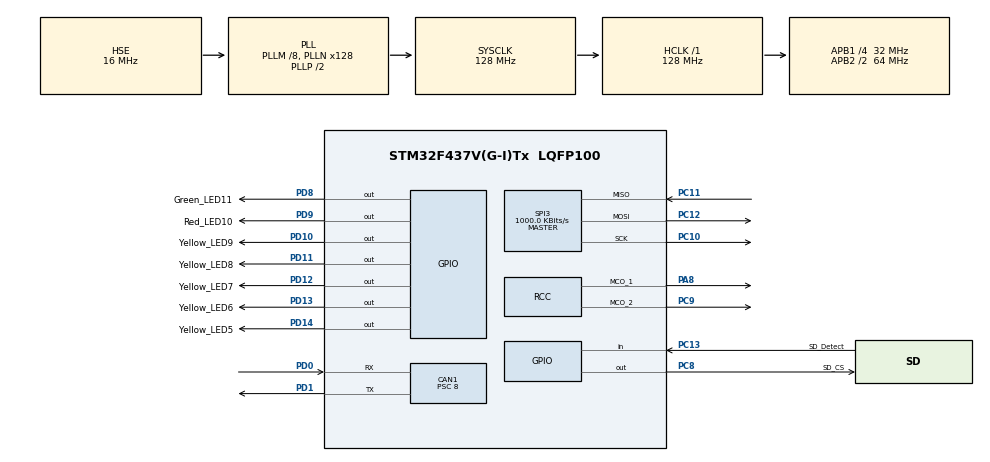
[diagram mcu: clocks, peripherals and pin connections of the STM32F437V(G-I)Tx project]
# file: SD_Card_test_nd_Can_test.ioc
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CAN1.BS1=CAN_BS1_13TQ
CAN1.BS2=CAN_BS2_2TQ
CAN1.CalculateBaudRate=250000
CAN1.CalculateTimeBit=4000
CAN1.CalculateTimeQuantum=250.0
CAN1.Prescaler=8
Mcu.Family=STM32F4
Mcu.Name=STM32F437V(G-I)Tx
Mcu.Package=LQFP100
NVIC.CAN1_RX0_IRQn=true\:0\:0\:false\:false\:true\:true\:true\:true
NVIC.CAN1_RX1_IRQn=true\:0\:0\:false\:false\:true\:true\:true\:true
NVIC.CAN1_TX_IRQn=true\:0\:0\:false\:false\:true\:true\:true\:true
NVIC.PriorityGroup=NVIC_PRIORITYGROUP_4
NVIC.SPI3_IRQn=true\:0\:0\:false\:false\:true\:true\:true\:true
PA11.Signal=USB_OTG_FS_DM
PA12.Signal=USB_OTG_FS_DP
PA13.Mode=Trace_Asynchronous_SW
PA13.Signal=SYS_JTMS-SWDIO
PA14.Mode=Trace_Asynchronous_SW
PA14.Signal=SYS_JTCK-SWCLK
PA8.Mode=Clock-out-1
PA8.Signal=RCC_MCO_1
PB3.Mode=Trace_Asynchronous_SW
PB3.Signal=SYS_JTDO-SWO
PC10.Mode=Full_Duplex_Master
PC10.Signal=SPI3_SCK
PC11.Mode=Full_Duplex_Master
PC11.Signal=SPI3_MISO
PC12.Mode=Full_Duplex_Master
PC12.Signal=SPI3_MOSI
PC13.GPIO_Label=SD_Detect
PC13.Signal=GPIO_Input
PC8.GPIO_Label=SD_CS
PC8.Signal=GPIO_Output
PC9.Mode=Clock-out-2
PC9.Signal=RCC_MCO_2
PD0.Mode=CAN_Activate
PD0.Signal=CAN1_RX
PD1.Mode=CAN_Activate
PD1.Signal=CAN1_TX
PD10.GPIO_Label=Yellow_LED9
PD10.Signal=GPIO_Output
PD11.GPIO_Label=Yellow_LED8
PD11.Signal=GPIO_Output
PD12.GPIO_Label=Yellow_LED7
PD12.Signal=GPIO_Output
PD13.GPIO_Label=Yellow_LED6
PD13.Signal=GPIO_Output
PD14.GPIO_Label=Yellow_LED5
PD14.Signal=GPIO_Output
PD8.GPIO_Label=Green_LED11
PD8.Signal=GPIO_Output
PD9.GPIO_Label=Red_LED10
PD9.Signal=GPIO_Output
PH0/OSC_IN.Mode=HSE-External-Oscillator
PH0/OSC_IN.Signal=RCC_OSC_IN
PH1/OSC_OUT.Mode=HSE-External-Oscillator
PH1/OSC_OUT.Signal=RCC_OSC_OUT
ProjectManager.HeapSize=0x200
ProjectManager.StackSize=0x400
ProjectManager.TargetToolchain=STM32CubeIDE
RCC.48MHZClocksFreq_Value=64000000
RCC.AHBFreq_Value=128000000
RCC.APB1CLKDivider=RCC_HCLK_DIV4
RCC.APB1Freq_Value=32000000
RCC.APB1TimFreq_Value=64000000
RCC.APB2CLKDivider=RCC_HCLK_DIV2
RCC.APB2Freq_Value=64000000
RCC.APB2TimFreq_Value=128000000
RCC.CortexFreq_Value=128000000
RCC.EnbaleCSS=true
RCC.HCLKFreq_Value=128000000
RCC.HSE_VALUE=16000000
RCC.HSI_VALUE=16000000
RCC.LSE_VALUE=32768
RCC.PLLM=8
RCC.PLLN=128
RCC.PLLSourceVirtual=RCC_PLLSOURCE_HSE
RCC.RCC_MCODiv2=RCC_MCODIV_2
RCC.SYSCLKFreq_VALUE=128000000
RCC.SYSCLKSource=RCC_SYSCLKSOURCE_PLLCLK
RCC.VCOOutputFreq_Value=256000000
SPI3.BaudRatePrescaler=SPI_BAUDRATEPRESCALER_32
SPI3.CalculateBaudRate=1000.0 KBits/s
SPI3.Direction=SPI_DIRECTION_2LINES
SPI3.Mode=SPI_MODE_MASTER
SPI3.VirtualType=VM_MASTER
VP_FATFS_VS_Generic.Mode=User_defined
board=custom

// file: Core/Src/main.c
/* USER CODE BEGIN Header */
/**
  ******************************************************************************
  * @file           : main.c
  * @brief          : Main program body
  ******************************************************************************
  * @attention
  *
  * Copyright (c) 2026 STMicroelectronics.
  * All rights reserved.
  *
  * This software is licensed under terms that can be found in the LICENSE file
  * in the root directory of this software component.
  * If no LICENSE file comes with this software, it is provided AS-IS.
  *
  ******************************************************************************
  */
/* USER CODE END Header */
#include "main.h"
#include "fatfs.h"

/* USER CODE BEGIN Includes */
#include <stdio.h>
#include <string.h>

/* USER CODE END Includes */

/* USER CODE BEGIN PTD */
typedef enum
{
  SD_TEST_PENDING = 0,
  SD_TEST_ERROR,
  SD_TEST_OK
} SD_TestStateTypeDef;

typedef struct
{
  uint32_t tick_ms;
  uint32_t rx_count;
  uint32_t id;
  uint8_t is_extended;
  uint8_t dlc;
  uint8_t data[8];
} CAN_RxSnapshotTypeDef;

typedef enum
{
  CAN_TX_EVENT_NONE = 0,
  CAN_TX_EVENT_COMPLETE,
  CAN_TX_EVENT_ABORT,
  CAN_TX_EVENT_ERROR
} CAN_TxEventTypeDef;

typedef struct
{
  volatile uint8_t pending;
  volatile uint32_t event_count;
  volatile CAN_TxEventTypeDef event;
  volatile uint32_t tick_ms;
  volatile uint32_t mailbox_index;
  volatile uint32_t tx_queued;
  volatile uint32_t tx_complete;
  volatile uint32_t tx_abort;
  volatile uint32_t error;
  volatile uint32_t esr;
  volatile uint32_t tsr;
  volatile uint32_t msr;
} CAN_TxEventSnapshotTypeDef;

/* USER CODE END PTD */

/* USER CODE BEGIN PD */
#define HEARTBEAT_PERIOD_MS      1000U
#define HEARTBEAT_ON_TIME_MS     100U
#define SD_TEST_RETRY_PERIOD_MS  2000U
#define ITM_PUTCHAR_TIMEOUT     1000000U
#define APP_DEBUG_PRINT_PERIOD_MS 1000U
#define SD_DETECT_ACTIVE_STATE   GPIO_PIN_RESET
#define CAN_SD_LOG_PERIOD_MS     1000U
#define CAN_DEBUG_PRINT_PERIOD_MS 1000U
#define CAN_RX_POLL_MAX_PER_LOOP 8U
#define CAN_RX_ISR_DRAIN_MAX     3U
#define SD_ACTIVITY_LED_ON_TIME_MS 100U
#define CAN_RX_LED_ON_TIME_MS    100U
#define CAN_LOOPBACK_MODE        0U
#define CAN_TX_ENABLE            1U
#define CAN_TX_PERIOD_MS         ((CAN_LOOPBACK_MODE != 0U) ? 1000U : 1000U)
#define CAN_TX_STD_ID            0x540U
#define CAN_TX_DLC               8U
#define CAN_DEVICE_SERIAL        0x20240786UL
#define CAN_TX_REQUIRE_RECENT_RX 0U
#define CAN_TX_RECENT_RX_MS      500U
#define CAN_TX_MAX_TEC           255U
#define CAN_TX_MAX_REC           127U
#define CAN_LISTEN_ONLY_MODE     0U
#define CAN_APB1_CLOCK_HZ        32000000UL
#define CAN_TIME_QUANTA          16UL
#define CAN_TARGET_BITRATE_HZ    250000UL
#define CAN_TARGET_PRESCALER     (CAN_APB1_CLOCK_HZ / (CAN_TIME_QUANTA * CAN_TARGET_BITRATE_HZ))
#define CAN_SYNC_JUMP_WIDTH      CAN_SJW_3TQ
#define CAN_TIME_SEG1            CAN_BS1_12TQ
#define CAN_TIME_SEG2            CAN_BS2_3TQ
#define CAN_SAMPLE_POINT_PERMIL  812UL
#define CAN_RX_SENSE_GPIO_Port   GPIOD
#define CAN_RX_SENSE_Pin         GPIO_PIN_0
#define LED_ACTIVE_STATE         GPIO_PIN_RESET
#define LED_INACTIVE_STATE       GPIO_PIN_SET

/* USER CODE END PD */

CAN_HandleTypeDef hcan1;

SPI_HandleTypeDef hspi3;

/* USER CODE BEGIN PV */
static SD_TestStateTypeDef SdTestState = SD_TEST_PENDING;
static uint32_t SdLastTestTick;
static uint8_t SdTestAttempted;
static FRESULT SdLastFatFsResult = FR_OK;
static uint32_t SdLastActivityTick;
static uint32_t CanLastSdLogTick;
static uint32_t CanLastLoggedRxCount;
static uint32_t CanLastDebugPrintTick;
static uint32_t CanLastDebugPrintRxCount;
static uint8_t CanDebugPrintedOnce;
static uint32_t AppLastDebugPrintTick;
static uint32_t AppLoopCount;
static uint32_t AppLastDebugRxCount;
static uint8_t AppDebugPrintedOnce;
static uint32_t CanLastTxTick;
static uint32_t CanTxSequence;
static uint32_t CanTxQueuedCount;
static volatile uint32_t CanTxCompleteCount;
static volatile uint32_t CanTxAbortCount;
static volatile uint32_t CanTxLastCompleteTick;
static uint8_t CanReady;
static volatile uint8_t CanRxIrqPending;
static volatile uint32_t CanLastRxIrqTick;
static volatile uint32_t CanRxIrqDrainCount;
static volatile uint32_t CanRxFifoOverrunCount;
static volatile uint32_t CanRxReadFailCount;
static volatile uint32_t CanRxEmptyRaceCount;
static CAN_RxSnapshotTypeDef CanLatestRx;
static CAN_TxEventSnapshotTypeDef CanTxEvent;

/* USER CODE END PV */

void SystemClock_Config(void);
static void MX_GPIO_Init(void);
static void MX_SPI3_Init(void);
static void MX_CAN1_Init(void);
/* USER CODE BEGIN PFP */
static void Heartbeat_Task(void);
static void App_DebugPrint_Task(void);
static HAL_StatusTypeDef CAN1_ListenAllStart(void);
static void CAN_PollRx_Task(void);
static uint32_t CAN_DrainRxFifo(uint8_t print_frames, uint32_t max_frames);
static void CAN_RecordRxFrame(const CAN_RxHeaderTypeDef *rx_header, const uint8_t *rx_data);
static void CAN_TxSimple_Task(void);
static void CAN_TxEventLog_Task(void);
static void CAN_RecordTxEvent(CAN_TxEventTypeDef event, uint32_t mailbox_index);
static void CAN_DebugPrint_Task(void);
static void CAN_PrintErrorFlags(uint32_t error_flags);
static const char *CAN_TxEventName(CAN_TxEventTypeDef event);
static const char *CAN_ModeName(uint32_t mode);
static const char *CAN_LecName(uint32_t lec);
static void CanStatusLed_Task(void);
static void CAN_SDLog_Task(void);
static HAL_StatusTypeDef CAN_QueueSimpleFrame(uint32_t sequence, uint32_t *tx_mailbox);
static void SdCardStatus_Task(void);
static FRESULT SdCard_RunCsvWriteTest(void);
static FRESULT SdCard_AppendCsvRow(const char *status);
static void FormatCanDataHex(char *output, size_t output_size, const uint8_t *data, uint8_t dlc);
static const char *SdTestStateName(SD_TestStateTypeDef state);
static const char *FatFsResultName(FRESULT result);
static uint8_t IsSdCardDetected(void);
static const char *GpioPinStateName(GPIO_PinState state);
static void SetLed(GPIO_TypeDef *gpio_port, uint16_t gpio_pin, GPIO_PinState state);
static void SetErrorLed(GPIO_PinState state);
static void SetSdStatusLed(GPIO_PinState state);
static void SetCanStatusLed(GPIO_PinState state);

/* USER CODE END PFP */

/* USER CODE BEGIN 0 */
int __io_putchar(int ch)
{
  if (((CoreDebug->DEMCR & CoreDebug_DEMCR_TRCENA_Msk) != 0UL) &&
      ((ITM->TCR & ITM_TCR_ITMENA_Msk) != 0UL) &&
      ((ITM->TER & 1UL) != 0UL))
  {
    uint32_t timeout = ITM_PUTCHAR_TIMEOUT;

    while (ITM->PORT[0U].u32 == 0UL)
    {
      if (--timeout == 0UL)
      {
        return ch;
      }
    }

    ITM->PORT[0U].u8 = (uint8_t)ch;
  }

  return ch;
}

/* USER CODE END 0 */

int main(void)
{

  /* MCU Configuration--------------------------------------------------------*/

  /* Reset of all peripherals, Initializes the Flash interface and the Systick. */
  HAL_Init();

  /* Configure the system clock */
  SystemClock_Config();

  /* Initialize all configured peripherals */
  MX_GPIO_Init();
  MX_FATFS_Init();
  MX_SPI3_Init();
  MX_CAN1_Init();
  /* USER CODE BEGIN 2 */
  __HAL_DBGMCU_FREEZE_CAN1();
  SetErrorLed(GPIO_PIN_RESET);
  SetSdStatusLed(GPIO_PIN_RESET);
  SetCanStatusLed(GPIO_PIN_RESET);
  printf("\r\n[BOOT] SD card test firmware started at %lu ms\r\n", HAL_GetTick());
  printf("[BOOT] HCLK=%lu Hz, PCLK1=%lu Hz, SPI3 prescaler enum=%lu, SD_DETECT=%s (%lu), inserted=%s\r\n",
         HAL_RCC_GetHCLKFreq(),
         HAL_RCC_GetPCLK1Freq(),
         hspi3.Init.BaudRatePrescaler,
         GpioPinStateName(HAL_GPIO_ReadPin(SD_Detect_GPIO_Port, SD_Detect_Pin)),
         (uint32_t)HAL_GPIO_ReadPin(SD_Detect_GPIO_Port, SD_Detect_Pin),
         IsSdCardDetected() ? "yes" : "no");
  printf("[BOOT] FatFs link retUSER=%u, USERPath=%s\r\n", retUSER, USERPath);
  if (CAN1_ListenAllStart() == HAL_OK)
  {
    CanReady = 1U;
    printf("[CAN] CAN1 listen-all ready, pins=PD0/RX PD1/TX, mode=%s, prescaler=%lu, tq=%lu, sample=%lu.%lu%%, bitrate=%lu bit/s, CAN_RX_PD0=%lu\r\n",
           CAN_ModeName(hcan1.Init.Mode),
           hcan1.Init.Prescaler,
           CAN_TIME_QUANTA,
           CAN_SAMPLE_POINT_PERMIL / 10UL,
           CAN_SAMPLE_POINT_PERMIL % 10UL,
           CAN_APB1_CLOCK_HZ / (hcan1.Init.Prescaler * CAN_TIME_QUANTA),
           (uint32_t)HAL_GPIO_ReadPin(CAN_RX_SENSE_GPIO_Port, CAN_RX_SENSE_Pin));
  }
  else
  {
    CanReady = 0U;
    SetErrorLed(GPIO_PIN_SET);
    printf("[CAN] CAN1 listen-all start failed, HAL error=0x%08lX\r\n",
           HAL_CAN_GetError(&hcan1));
  }

  /* USER CODE END 2 */

  /* Infinite loop */
  while (1)
  {

    /* USER CODE BEGIN 3 */
    AppLoopCount++;
    Heartbeat_Task();
    CAN_PollRx_Task();
    CAN_DebugPrint_Task();
    App_DebugPrint_Task();
    CAN_TxSimple_Task();
    CAN_TxEventLog_Task();
    SdCardStatus_Task();
    CanStatusLed_Task();
    CAN_SDLog_Task();
    HAL_Delay(1);
  }
  /* USER CODE END 3 */
}

void SystemClock_Config(void)
{
  RCC_OscInitTypeDef RCC_OscInitStruct = {0};
  RCC_ClkInitTypeDef RCC_ClkInitStruct = {0};

  /** Configure the main internal regulator output voltage
  */
  __HAL_RCC_PWR_CLK_ENABLE();
  __HAL_PWR_VOLTAGESCALING_CONFIG(PWR_REGULATOR_VOLTAGE_SCALE2);

  /** Initializes the RCC Oscillators according to the specified parameters
  * in the RCC_OscInitTypeDef structure.
  */
  RCC_OscInitStruct.OscillatorType = RCC_OSCILLATORTYPE_HSI|RCC_OSCILLATORTYPE_HSE;
  RCC_OscInitStruct.HSEState = RCC_HSE_ON;
  RCC_OscInitStruct.HSIState = RCC_HSI_ON;
  RCC_OscInitStruct.HSICalibrationValue = RCC_HSICALIBRATION_DEFAULT;
  RCC_OscInitStruct.PLL.PLLState = RCC_PLL_ON;
  RCC_OscInitStruct.PLL.PLLSource = RCC_PLLSOURCE_HSE;
  RCC_OscInitStruct.PLL.PLLM = 8;
  RCC_OscInitStruct.PLL.PLLN = 128;
  RCC_OscInitStruct.PLL.PLLP = RCC_PLLP_DIV2;
  RCC_OscInitStruct.PLL.PLLQ = 4;
  if (HAL_RCC_OscConfig(&RCC_OscInitStruct) != HAL_OK)
  {
    Error_Handler();
  }

  /** Initializes the CPU, AHB and APB buses clocks
  */
  RCC_ClkInitStruct.ClockType = RCC_CLOCKTYPE_HCLK|RCC_CLOCKTYPE_SYSCLK
                              |RCC_CLOCKTYPE_PCLK1|RCC_CLOCKTYPE_PCLK2;
  RCC_ClkInitStruct.SYSCLKSource = RCC_SYSCLKSOURCE_PLLCLK;
  RCC_ClkInitStruct.AHBCLKDivider = RCC_SYSCLK_DIV1;
  RCC_ClkInitStruct.APB1CLKDivider = RCC_HCLK_DIV4;
  RCC_ClkInitStruct.APB2CLKDivider = RCC_HCLK_DIV2;

  if (HAL_RCC_ClockConfig(&RCC_ClkInitStruct, FLASH_LATENCY_4) != HAL_OK)
  {
    Error_Handler();
  }
  HAL_RCC_MCOConfig(RCC_MCO1, RCC_MCO1SOURCE_HSI, RCC_MCODIV_1);
  HAL_RCC_MCOConfig(RCC_MCO2, RCC_MCO2SOURCE_SYSCLK, RCC_MCODIV_2);

  /** Enables the Clock Security System
  */
  HAL_RCC_EnableCSS();
}

static void MX_CAN1_Init(void)
{

  hcan1.Instance = CAN1;
  hcan1.Init.Prescaler = 8;
  hcan1.Init.Mode = CAN_MODE_NORMAL;
  hcan1.Init.SyncJumpWidth = CAN_SJW_1TQ;
  hcan1.Init.TimeSeg1 = CAN_BS1_13TQ;
  hcan1.Init.TimeSeg2 = CAN_BS2_2TQ;
  hcan1.Init.TimeTriggeredMode = DISABLE;
  hcan1.Init.AutoBusOff = DISABLE;
  hcan1.Init.AutoWakeUp = DISABLE;
  hcan1.Init.AutoRetransmission = DISABLE;
  hcan1.Init.ReceiveFifoLocked = DISABLE;
  hcan1.Init.TransmitFifoPriority = DISABLE;
  if (HAL_CAN_Init(&hcan1) != HAL_OK)
  {
    Error_Handler();
  }

}

static void MX_SPI3_Init(void)
{

  /* SPI3 parameter configuration*/
  hspi3.Instance = SPI3;
  hspi3.Init.Mode = SPI_MODE_MASTER;
  hspi3.Init.Direction = SPI_DIRECTION_2LINES;
  hspi3.Init.DataSize = SPI_DATASIZE_8BIT;
  hspi3.Init.CLKPolarity = SPI_POLARITY_LOW;
  hspi3.Init.CLKPhase = SPI_PHASE_1EDGE;
  hspi3.Init.NSS = SPI_NSS_SOFT;
  hspi3.Init.BaudRatePrescaler = SPI_BAUDRATEPRESCALER_32;
  hspi3.Init.FirstBit = SPI_FIRSTBIT_MSB;
  hspi3.Init.TIMode = SPI_TIMODE_DISABLE;
  hspi3.Init.CRCCalculation = SPI_CRCCALCULATION_DISABLE;
  hspi3.Init.CRCPolynomial = 10;
  if (HAL_SPI_Init(&hspi3) != HAL_OK)
  {
    Error_Handler();
  }

}

static void MX_GPIO_Init(void)
{
  GPIO_InitTypeDef GPIO_InitStruct = {0};

  /* GPIO Ports Clock Enable */
  __HAL_RCC_GPIOC_CLK_ENABLE();
  __HAL_RCC_GPIOH_CLK_ENABLE();
  __HAL_RCC_GPIOD_CLK_ENABLE();
  __HAL_RCC_GPIOA_CLK_ENABLE();
  __HAL_RCC_GPIOB_CLK_ENABLE();

  /*Configure GPIO pin Output Level */
  HAL_GPIO_WritePin(GPIOD, Green_LED11_Pin|Red_LED10_Pin|Yellow_LED9_Pin|Yellow_LED8_Pin
                          |Yellow_LED7_Pin|Yellow_LED6_Pin|Yellow_LED5_Pin, GPIO_PIN_RESET);

  /*Configure GPIO pin Output Level */
  HAL_GPIO_WritePin(SD_CS_GPIO_Port, SD_CS_Pin, GPIO_PIN_RESET);

  /*Configure GPIO pin : SD_Detect_Pin */
  GPIO_InitStruct.Pin = SD_Detect_Pin;
  GPIO_InitStruct.Mode = GPIO_MODE_INPUT;
  GPIO_InitStruct.Pull = GPIO_NOPULL;
  HAL_GPIO_Init(SD_Detect_GPIO_Port, &GPIO_InitStruct);

  /*Configure GPIO pins : Green_LED11_Pin Red_LED10_Pin Yellow_LED9_Pin Yellow_LED8_Pin
                           Yellow_LED7_Pin Yellow_LED6_Pin Yellow_LED5_Pin */
  GPIO_InitStruct.Pin = Green_LED11_Pin|Red_LED10_Pin|Yellow_LED9_Pin|Yellow_LED8_Pin
                          |Yellow_LED7_Pin|Yellow_LED6_Pin|Yellow_LED5_Pin;
  GPIO_InitStruct.Mode = GPIO_MODE_OUTPUT_PP;
  GPIO_InitStruct.Pull = GPIO_NOPULL;
  GPIO_InitStruct.Speed = GPIO_SPEED_FREQ_LOW;
  HAL_GPIO_Init(GPIOD, &GPIO_InitStruct);

  /*Configure GPIO pin : SD_CS_Pin */
  GPIO_InitStruct.Pin = SD_CS_Pin;
  GPIO_InitStruct.Mode = GPIO_MODE_OUTPUT_PP;
  GPIO_InitStruct.Pull = GPIO_NOPULL;
  GPIO_InitStruct.Speed = GPIO_SPEED_FREQ_LOW;
  HAL_GPIO_Init(SD_CS_GPIO_Port, &GPIO_InitStruct);

  /*Configure GPIO pin : PC9 */
  GPIO_InitStruct.Pin = GPIO_PIN_9;
  GPIO_InitStruct.Mode = GPIO_MODE_AF_PP;
  GPIO_InitStruct.Pull = GPIO_NOPULL;
  GPIO_InitStruct.Speed = GPIO_SPEED_FREQ_LOW;
  GPIO_InitStruct.Alternate = GPIO_AF0_MCO;
  HAL_GPIO_Init(GPIOC, &GPIO_InitStruct);

  /*Configure GPIO pin : PA8 */
  GPIO_InitStruct.Pin = GPIO_PIN_8;
  GPIO_InitStruct.Mode = GPIO_MODE_AF_PP;
  GPIO_InitStruct.Pull = GPIO_NOPULL;
  GPIO_InitStruct.Speed = GPIO_SPEED_FREQ_LOW;
  GPIO_InitStruct.Alternate = GPIO_AF0_MCO;
  HAL_GPIO_Init(GPIOA, &GPIO_InitStruct);

  /*Configure GPIO pins : PA11 PA12 */
  GPIO_InitStruct.Pin = GPIO_PIN_11|GPIO_PIN_12;
  GPIO_InitStruct.Mode = GPIO_MODE_AF_PP;
  GPIO_InitStruct.Pull = GPIO_NOPULL;
  GPIO_InitStruct.Speed = GPIO_SPEED_FREQ_VERY_HIGH;
  GPIO_InitStruct.Alternate = GPIO_AF10_OTG_FS;
  HAL_GPIO_Init(GPIOA, &GPIO_InitStruct);

}

/* USER CODE BEGIN 4 */
static void Heartbeat_Task(void)
{
  uint32_t phase = HAL_GetTick() % HEARTBEAT_PERIOD_MS;
  SetLed(Green_LED11_GPIO_Port,
         Green_LED11_Pin,
         (phase < HEARTBEAT_ON_TIME_MS) ? GPIO_PIN_SET : GPIO_PIN_RESET);
}

static void App_DebugPrint_Task(void)
{
  uint32_t now = HAL_GetTick();
  uint32_t rx_delta;
  uint32_t esr;
  uint32_t tec;
  uint32_t rec;
  uint32_t lec;

  if (AppDebugPrintedOnce != 0U &&
      (now - AppLastDebugPrintTick) < APP_DEBUG_PRINT_PERIOD_MS)
  {
    return;
  }

  AppDebugPrintedOnce = 1U;
  AppLastDebugPrintTick = now;
  rx_delta = CanLatestRx.rx_count - AppLastDebugRxCount;
  esr = hcan1.Instance->ESR;
  tec = (esr >> 16) & 0xFFU;
  rec = (esr >> 24) & 0xFFU;
  lec = (esr >> 4) & 0x07U;

  printf("[APP] DBG t=%lu loop=%lu sd=%s fatfs=%s can_ready=%u can_state=%lu mode=%s CAN_RX_PD0=%lu rx=%lu rx_delta=%lu irq=%u irq_drain=%lu fifo_ovr=%lu read_fail=%lu empty_race=%lu RF0R=0x%08lX TEC=%lu REC=%lu LEC=%lu err=0x%08lX\r\n",
         now,
         AppLoopCount,
         SdTestStateName(SdTestState),
         FatFsResultName(SdLastFatFsResult),
         CanReady,
         (uint32_t)HAL_CAN_GetState(&hcan1),
         CAN_ModeName(hcan1.Init.Mode),
         (uint32_t)HAL_GPIO_ReadPin(CAN_RX_SENSE_GPIO_Port, CAN_RX_SENSE_Pin),
         CanLatestRx.rx_count,
         rx_delta,
         CanRxIrqPending,
         CanRxIrqDrainCount,
         CanRxFifoOverrunCount,
         CanRxReadFailCount,
         CanRxEmptyRaceCount,
         hcan1.Instance->RF0R,
         tec,
         rec,
         lec,
         HAL_CAN_GetError(&hcan1));

  AppLastDebugRxCount = CanLatestRx.rx_count;
}

static HAL_StatusTypeDef CAN1_ListenAllStart(void)
{
  CAN_FilterTypeDef filter_config = {0};
  HAL_StatusTypeDef status;

  filter_config.FilterBank = 0;
  filter_config.FilterMode = CAN_FILTERMODE_IDMASK;
  filter_config.FilterScale = CAN_FILTERSCALE_32BIT;
  filter_config.FilterIdHigh = 0x0000U;
  filter_config.FilterIdLow = 0x0000U;
  filter_config.FilterMaskIdHigh = 0x0000U;
  filter_config.FilterMaskIdLow = 0x0000U;
  filter_config.FilterFIFOAssignment = CAN_RX_FIFO0;
  filter_config.FilterActivation = ENABLE;
  filter_config.SlaveStartFilterBank = 14;

  status = HAL_CAN_ConfigFilter(&hcan1, &filter_config);
  if (status != HAL_OK)
  {
    return status;
  }

  status = HAL_CAN_Start(&hcan1);
  if (status != HAL_OK)
  {
    return status;
  }

  return HAL_CAN_ActivateNotification(&hcan1,
                                      CAN_IT_TX_MAILBOX_EMPTY |
                                      CAN_IT_RX_FIFO0_MSG_PENDING |
                                      CAN_IT_RX_FIFO0_FULL |
                                      CAN_IT_RX_FIFO0_OVERRUN |
                                      CAN_IT_ERROR_WARNING |
                                      CAN_IT_ERROR_PASSIVE |
                                      CAN_IT_BUSOFF |
                                      CAN_IT_LAST_ERROR_CODE |
                                      CAN_IT_ERROR);
}

static void CAN_PollRx_Task(void)
{
  if (CanReady == 0U)
  {
    return;
  }

  HAL_NVIC_DisableIRQ(CAN1_RX0_IRQn);
  (void)CAN_DrainRxFifo(1U, CAN_RX_POLL_MAX_PER_LOOP);
  HAL_NVIC_EnableIRQ(CAN1_RX0_IRQn);
}

static uint32_t CAN_DrainRxFifo(uint8_t print_frames, uint32_t max_frames)
{
  CAN_RxHeaderTypeDef rx_header;
  uint8_t rx_data[8];
  uint32_t frames_read = 0U;

  if ((__HAL_CAN_GET_FLAG(&hcan1, CAN_FLAG_FOV0) != RESET))
  {
    CanRxFifoOverrunCount++;
    __HAL_CAN_CLEAR_FLAG(&hcan1, CAN_FLAG_FOV0);
  }

  while (HAL_CAN_GetRxFifoFillLevel(&hcan1, CAN_RX_FIFO0) > 0U &&
         frames_read < max_frames)
  {
    if (HAL_CAN_GetRxMessage(&hcan1, CAN_RX_FIFO0, &rx_header, rx_data) != HAL_OK)
    {
      uint32_t can_error = HAL_CAN_GetError(&hcan1);

      if ((can_error & HAL_CAN_ERROR_PARAM) != 0U &&
          HAL_CAN_GetRxFifoFillLevel(&hcan1, CAN_RX_FIFO0) == 0U)
      {
        CanRxEmptyRaceCount++;
        if ((can_error & ~HAL_CAN_ERROR_PARAM) == 0U)
        {
          (void)HAL_CAN_ResetError(&hcan1);
        }
        break;
      }

      CanRxReadFailCount++;
      if (print_frames != 0U)
      {
        printf("[CAN] RX read failed, HAL error=0x%08lX, ESR=0x%08lX\r\n",
               can_error,
               hcan1.Instance->ESR);
      }
      break;
    }

    frames_read++;
    CAN_RecordRxFrame(&rx_header, rx_data);

    if (print_frames != 0U &&
        (CanLatestRx.rx_count <= 20U || (CanLatestRx.rx_count % 50U) == 0U))
    {
      char data_hex[17];
      FormatCanDataHex(data_hex, sizeof(data_hex), CanLatestRx.data, CanLatestRx.dlc);
      printf("[CAN] RX #%lu ID=0x%lX %s DLC=%u DATA=%s\r\n",
             CanLatestRx.rx_count,
             CanLatestRx.id,
             (CanLatestRx.is_extended != 0U) ? "EXT" : "STD",
             CanLatestRx.dlc,
             data_hex);
    }
  }

  if ((__HAL_CAN_GET_FLAG(&hcan1, CAN_FLAG_FOV0) != RESET))
  {
    CanRxFifoOverrunCount++;
    __HAL_CAN_CLEAR_FLAG(&hcan1, CAN_FLAG_FOV0);
  }

  if (HAL_CAN_GetRxFifoFillLevel(&hcan1, CAN_RX_FIFO0) == 0U)
  {
    CanRxIrqPending = 0U;
  }

  return frames_read;
}

static void CAN_RecordRxFrame(const CAN_RxHeaderTypeDef *rx_header, const uint8_t *rx_data)
{
  CanLatestRx.tick_ms = HAL_GetTick();
  CanLatestRx.rx_count++;
  CanLatestRx.is_extended = (rx_header->IDE == CAN_ID_EXT) ? 1U : 0U;
  CanLatestRx.id = (CanLatestRx.is_extended != 0U) ? rx_header->ExtId : rx_header->StdId;
  CanLatestRx.dlc = (rx_header->DLC <= 8U) ? (uint8_t)rx_header->DLC : 8U;
  memset(CanLatestRx.data, 0, sizeof(CanLatestRx.data));
  memcpy(CanLatestRx.data, rx_data, CanLatestRx.dlc);
}

void HAL_CAN_RxFifo0FullCallback(CAN_HandleTypeDef *hcan)
{
  if (hcan->Instance == CAN1)
  {
    CanRxIrqPending = 1U;
    CanLastRxIrqTick = HAL_GetTick();
    CanRxIrqDrainCount += CAN_DrainRxFifo(0U, CAN_RX_ISR_DRAIN_MAX);
  }
}

static void CAN_TxSimple_Task(void)
{
#if CAN_TX_ENABLE
  uint32_t now = HAL_GetTick();
  uint32_t tx_mailbox;
  uint32_t esr;
  uint32_t tec;
  uint32_t rec;
  HAL_StatusTypeDef status;

  if (CanReady == 0U)
  {
    return;
  }

  if ((now - CanLastTxTick) < CAN_TX_PERIOD_MS)
  {
    return;
  }

  CanLastTxTick = now;
  esr = hcan1.Instance->ESR;
  tec = (esr >> 16) & 0xFFU;
  rec = (esr >> 24) & 0xFFU;

  if (tec > CAN_TX_MAX_TEC || rec > CAN_TX_MAX_REC)
  {
    printf("[CAN] TX 0x%03lX held: bus counters TEC=%lu REC=%lu err=0x%08lX ESR=0x%08lX\r\n",
           (uint32_t)CAN_TX_STD_ID,
           tec,
           rec,
           HAL_CAN_GetError(&hcan1),
           esr);
    return;
  }

#if CAN_TX_REQUIRE_RECENT_RX && (CAN_LOOPBACK_MODE == 0U)
  if (CanLatestRx.rx_count == 0U || (now - CanLatestRx.tick_ms) > CAN_TX_RECENT_RX_MS)
  {
    printf("[CAN] TX 0x%03lX held: no recent RX traffic rx=%lu age=%lu ms\r\n",
           (uint32_t)CAN_TX_STD_ID,
           CanLatestRx.rx_count,
           (CanLatestRx.rx_count == 0U) ? 0UL : (now - CanLatestRx.tick_ms));
    return;
  }
#endif

  if (HAL_CAN_GetTxMailboxesFreeLevel(&hcan1) == 0U)
  {
    printf("[CAN] TX 0x%03lX skipped: no free mailbox TSR=0x%08lX err=0x%08lX\r\n",
           (uint32_t)CAN_TX_STD_ID,
           hcan1.Instance->TSR,
           HAL_CAN_GetError(&hcan1));
    return;
  }

  status = CAN_QueueSimpleFrame(CanTxSequence, &tx_mailbox);
  if (status == HAL_OK)
  {
    CanTxQueuedCount++;
    printf("[CAN] TX QUEUE t=%lu q=%lu ID=0x%03lX STD DATA DLC=%lu payload=8607242032764D54 serial=0x%08lX seq=%lu mailbox=0x%08lX free=%lu ESR=0x%08lX TSR=0x%08lX\r\n",
           now,
           CanTxQueuedCount,
           (uint32_t)CAN_TX_STD_ID,
           (uint32_t)CAN_TX_DLC,
           CAN_DEVICE_SERIAL,
           CanTxSequence,
           tx_mailbox,
           HAL_CAN_GetTxMailboxesFreeLevel(&hcan1),
           hcan1.Instance->ESR,
           hcan1.Instance->TSR);
    CanTxSequence++;
  }
  else
  {
    printf("[CAN] TX queue failed ID=0x%03lX status=%d err=0x%08lX ESR=0x%08lX TSR=0x%08lX\r\n",
           (uint32_t)CAN_TX_STD_ID,
           (int)status,
           HAL_CAN_GetError(&hcan1),
           hcan1.Instance->ESR,
           hcan1.Instance->TSR);
  }
#endif
}

static void CAN_TxEventLog_Task(void)
{
  CAN_TxEventTypeDef event;
  uint32_t event_count;
  uint32_t tick_ms;
  uint32_t mailbox_index;
  uint32_t tx_queued;
  uint32_t tx_complete;
  uint32_t tx_abort;
  uint32_t error;
  uint32_t esr;
  uint32_t tsr;
  uint32_t msr;
  uint32_t tec;
  uint32_t rec;
  uint32_t lec;

  if (CanTxEvent.pending == 0U)
  {
    return;
  }

  HAL_NVIC_DisableIRQ(CAN1_TX_IRQn);
  HAL_NVIC_DisableIRQ(CAN1_SCE_IRQn);
  event = CanTxEvent.event;
  event_count = CanTxEvent.event_count;
  tick_ms = CanTxEvent.tick_ms;
  mailbox_index = CanTxEvent.mailbox_index;
  tx_queued = CanTxEvent.tx_queued;
  tx_complete = CanTxEvent.tx_complete;
  tx_abort = CanTxEvent.tx_abort;
  error = CanTxEvent.error;
  esr = CanTxEvent.esr;
  tsr = CanTxEvent.tsr;
  msr = CanTxEvent.msr;
  CanTxEvent.pending = 0U;
  HAL_NVIC_EnableIRQ(CAN1_SCE_IRQn);
  HAL_NVIC_EnableIRQ(CAN1_TX_IRQn);

  tec = (esr >> 16U) & 0xFFU;
  rec = (esr >> 24U) & 0xFFU;
  lec = (esr >> 4U) & 0x07U;

  printf("[CAN] TX EVENT #%lu t=%lu event=%s mb=%lu ID=0x%03lX q=%lu done=%lu abort=%lu err=0x%08lX ESR=0x%08lX TEC=%lu REC=%lu LEC=%lu(%s) TSR=0x%08lX MSR=0x%08lX\r\n",
         event_count,
         tick_ms,
         CAN_TxEventName(event),
         mailbox_index,
         (uint32_t)CAN_TX_STD_ID,
         tx_queued,
         tx_complete,
         tx_abort,
         error,
         esr,
         tec,
         rec,
         lec,
         CAN_LecName(lec),
         tsr,
         msr);

  if (error != HAL_CAN_ERROR_NONE)
  {
    CAN_PrintErrorFlags(error);
  }
}

static void CAN_RecordTxEvent(CAN_TxEventTypeDef event, uint32_t mailbox_index)
{
  CanTxEvent.event = event;
  CanTxEvent.tick_ms = HAL_GetTick();
  CanTxEvent.mailbox_index = mailbox_index;
  CanTxEvent.tx_queued = CanTxQueuedCount;
  CanTxEvent.tx_complete = CanTxCompleteCount;
  CanTxEvent.tx_abort = CanTxAbortCount;
  CanTxEvent.error = HAL_CAN_GetError(&hcan1);
  CanTxEvent.esr = hcan1.Instance->ESR;
  CanTxEvent.tsr = hcan1.Instance->TSR;
  CanTxEvent.msr = hcan1.Instance->MSR;
  CanTxEvent.event_count++;
  CanTxEvent.pending = 1U;
}

void HAL_CAN_RxFifo0MsgPendingCallback(CAN_HandleTypeDef *hcan)
{
  if (hcan->Instance == CAN1)
  {
    CanRxIrqPending = 1U;
    CanLastRxIrqTick = HAL_GetTick();
    CanRxIrqDrainCount += CAN_DrainRxFifo(0U, CAN_RX_ISR_DRAIN_MAX);
  }
}

void HAL_CAN_TxMailbox0CompleteCallback(CAN_HandleTypeDef *hcan)
{
  if (hcan->Instance == CAN1)
  {
    CanTxCompleteCount++;
    CanTxLastCompleteTick = HAL_GetTick();
    CAN_RecordTxEvent(CAN_TX_EVENT_COMPLETE, 0U);
  }
}

void HAL_CAN_TxMailbox1CompleteCallback(CAN_HandleTypeDef *hcan)
{
  if (hcan->Instance == CAN1)
  {
    CanTxCompleteCount++;
    CanTxLastCompleteTick = HAL_GetTick();
    CAN_RecordTxEvent(CAN_TX_EVENT_COMPLETE, 1U);
  }
}

void HAL_CAN_TxMailbox2CompleteCallback(CAN_HandleTypeDef *hcan)
{
  if (hcan->Instance == CAN1)
  {
    CanTxCompleteCount++;
    CanTxLastCompleteTick = HAL_GetTick();
    CAN_RecordTxEvent(CAN_TX_EVENT_COMPLETE, 2U);
  }
}

void HAL_CAN_TxMailbox0AbortCallback(CAN_HandleTypeDef *hcan)
{
  if (hcan->Instance == CAN1)
  {
    CanTxAbortCount++;
    CAN_RecordTxEvent(CAN_TX_EVENT_ABORT, 0U);
  }
}

void HAL_CAN_TxMailbox1AbortCallback(CAN_HandleTypeDef *hcan)
{
  if (hcan->Instance == CAN1)
  {
    CanTxAbortCount++;
    CAN_RecordTxEvent(CAN_TX_EVENT_ABORT, 1U);
  }
}

void HAL_CAN_TxMailbox2AbortCallback(CAN_HandleTypeDef *hcan)
{
  if (hcan->Instance == CAN1)
  {
    CanTxAbortCount++;
    CAN_RecordTxEvent(CAN_TX_EVENT_ABORT, 2U);
  }
}

void HAL_CAN_ErrorCallback(CAN_HandleTypeDef *hcan)
{
  if (hcan->Instance == CAN1)
  {
    CAN_RecordTxEvent(CAN_TX_EVENT_ERROR, 0xFFFFFFFFUL);
    CanRxIrqPending = 0U;
  }
}

static void CAN_DebugPrint_Task(void)
{
  uint32_t now = HAL_GetTick();
  uint32_t esr;
  uint32_t can_error;
  uint32_t rx_delta;
  uint32_t fifo0_level;
  uint32_t tec;
  uint32_t rec;
  uint32_t lec;
  uint32_t rx_pin;
  uint32_t tx_free;

  if (CanDebugPrintedOnce != 0U &&
      (now - CanLastDebugPrintTick) < CAN_DEBUG_PRINT_PERIOD_MS)
  {
    return;
  }

  CanDebugPrintedOnce = 1U;
  CanLastDebugPrintTick = now;
  esr = hcan1.Instance->ESR;
  can_error = HAL_CAN_GetError(&hcan1);
  rx_delta = CanLatestRx.rx_count - CanLastDebugPrintRxCount;
  fifo0_level = HAL_CAN_GetRxFifoFillLevel(&hcan1, CAN_RX_FIFO0);
  tec = (esr >> 16) & 0xFFU;
  rec = (esr >> 24) & 0xFFU;
  lec = (esr >> 4) & 0x07U;
  rx_pin = (uint32_t)HAL_GPIO_ReadPin(CAN_RX_SENSE_GPIO_Port, CAN_RX_SENSE_Pin);
  tx_free = HAL_CAN_GetTxMailboxesFreeLevel(&hcan1);

  printf("[CAN] DBG t=%lu ready=%u state=%lu mode=%s bitrate=%lu rx=%lu delta=%lu fifo0=%lu irq=%u txq=%lu txdone=%lu txabort=%lu txfree=%lu txdone_tick=%lu CAN_RX_PD0=%lu err=0x%08lX ESR=0x%08lX TEC=%lu REC=%lu LEC=%lu MSR=0x%08lX TSR=0x%08lX RF0R=0x%08lX IER=0x%08lX BTR=0x%08lX\r\n",
         now,
         CanReady,
         (uint32_t)HAL_CAN_GetState(&hcan1),
         CAN_ModeName(hcan1.Init.Mode),
         CAN_APB1_CLOCK_HZ / (hcan1.Init.Prescaler * CAN_TIME_QUANTA),
         CanLatestRx.rx_count,
         rx_delta,
         fifo0_level,
         CanRxIrqPending,
         CanTxQueuedCount,
         CanTxCompleteCount,
         CanTxAbortCount,
         tx_free,
         CanTxLastCompleteTick,
         rx_pin,
         can_error,
         esr,
         tec,
         rec,
         lec,
         hcan1.Instance->MSR,
         hcan1.Instance->TSR,
         hcan1.Instance->RF0R,
         hcan1.Instance->IER,
         hcan1.Instance->BTR);

  if (rx_delta != 0U)
  {
    char data_hex[17];
    FormatCanDataHex(data_hex, sizeof(data_hex), CanLatestRx.data, CanLatestRx.dlc);
    printf("[CAN] DBG latest tick=%lu ID=0x%lX %s DLC=%u DATA=%s\r\n",
           CanLatestRx.tick_ms,
           CanLatestRx.id,
           (CanLatestRx.is_extended != 0U) ? "EXT" : "STD",
           CanLatestRx.dlc,
           data_hex);
  }

  if (can_error != HAL_CAN_ERROR_NONE)
  {
    CAN_PrintErrorFlags(can_error);
  }

  CanLastDebugPrintRxCount = CanLatestRx.rx_count;
}

static void CAN_PrintErrorFlags(uint32_t error_flags)
{
  uint32_t known_flags = HAL_CAN_ERROR_EWG |
                         HAL_CAN_ERROR_EPV |
                         HAL_CAN_ERROR_BOF |
                         HAL_CAN_ERROR_STF |
                         HAL_CAN_ERROR_FOR |
                         HAL_CAN_ERROR_ACK |
                         HAL_CAN_ERROR_BR |
                         HAL_CAN_ERROR_BD |
                         HAL_CAN_ERROR_CRC |
                         HAL_CAN_ERROR_RX_FOV0 |
                         HAL_CAN_ERROR_RX_FOV1 |
                         HAL_CAN_ERROR_TX_ALST0 |
                         HAL_CAN_ERROR_TX_TERR0 |
                         HAL_CAN_ERROR_TX_ALST1 |
                         HAL_CAN_ERROR_TX_TERR1 |
                         HAL_CAN_ERROR_TX_ALST2 |
                         HAL_CAN_ERROR_TX_TERR2 |
                         HAL_CAN_ERROR_TIMEOUT |
                         HAL_CAN_ERROR_NOT_INITIALIZED |
                         HAL_CAN_ERROR_NOT_READY |
                         HAL_CAN_ERROR_NOT_STARTED |
                         HAL_CAN_ERROR_PARAM |
                         HAL_CAN_ERROR_INTERNAL;
#ifdef HAL_CAN_ERROR_INVALID_CALLBACK
  known_flags |= HAL_CAN_ERROR_INVALID_CALLBACK;
#endif

  printf("[CAN] ERR flags:%s%s%s%s%s%s%s%s%s%s%s%s%s%s%s%s%s%s%s%s%s%s%s%s%s UNKNOWN=0x%08lX\r\n",
         (error_flags & HAL_CAN_ERROR_EWG) ? " EWG" : "",
         (error_flags & HAL_CAN_ERROR_EPV) ? " EPV" : "",
         (error_flags & HAL_CAN_ERROR_BOF) ? " BOF" : "",
         (error_flags & HAL_CAN_ERROR_STF) ? " STF" : "",
         (error_flags & HAL_CAN_ERROR_FOR) ? " FOR" : "",
         (error_flags & HAL_CAN_ERROR_ACK) ? " ACK" : "",
         (error_flags & HAL_CAN_ERROR_BR) ? " BIT_RECESSIVE" : "",
         (error_flags & HAL_CAN_ERROR_BD) ? " BIT_DOMINANT" : "",
         (error_flags & HAL_CAN_ERROR_CRC) ? " CRC" : "",
         (error_flags & HAL_CAN_ERROR_RX_FOV0) ? " RX_FOV0" : "",
         (error_flags & HAL_CAN_ERROR_RX_FOV1) ? " RX_FOV1" : "",
         (error_flags & HAL_CAN_ERROR_TX_ALST0) ? " TX_ALST0" : "",
         (error_flags & HAL_CAN_ERROR_TX_TERR0) ? " TX_TERR0" : "",
         (error_flags & HAL_CAN_ERROR_TX_ALST1) ? " TX_ALST1" : "",
         (error_flags & HAL_CAN_ERROR_TX_TERR1) ? " TX_TERR1" : "",
         (error_flags & HAL_CAN_ERROR_TX_ALST2) ? " TX_ALST2" : "",
         (error_flags & HAL_CAN_ERROR_TX_TERR2) ? " TX_TERR2" : "",
         (error_flags & HAL_CAN_ERROR_TIMEOUT) ? " TIMEOUT" : "",
         (error_flags & HAL_CAN_ERROR_NOT_INITIALIZED) ? " NOT_INITIALIZED" : "",
         (error_flags & HAL_CAN_ERROR_NOT_READY) ? " NOT_READY" : "",
         (error_flags & HAL_CAN_ERROR_NOT_STARTED) ? " NOT_STARTED" : "",
         (error_flags & HAL_CAN_ERROR_PARAM) ? " PARAM" : "",
#ifdef HAL_CAN_ERROR_INVALID_CALLBACK
         (error_flags & HAL_CAN_ERROR_INVALID_CALLBACK) ? " INVALID_CALLBACK" : "",
#else
         "",
#endif
         (error_flags & HAL_CAN_ERROR_INTERNAL) ? " INTERNAL" : "",
         (error_flags == HAL_CAN_ERROR_NONE) ? " NONE" : "",
          error_flags & ~known_flags);
}

static const char *CAN_TxEventName(CAN_TxEventTypeDef event)
{
  switch (event)
  {
    case CAN_TX_EVENT_COMPLETE:
      return "complete";
    case CAN_TX_EVENT_ABORT:
      return "abort";
    case CAN_TX_EVENT_ERROR:
      return "error";
    case CAN_TX_EVENT_NONE:
    default:
      return "none";
  }
}

static const char *CAN_ModeName(uint32_t mode)
{
  switch (mode)
  {
    case CAN_MODE_NORMAL:
      return "normal";
    case CAN_MODE_LOOPBACK:
      return "loopback";
    case CAN_MODE_SILENT:
      return "silent";
    case CAN_MODE_SILENT_LOOPBACK:
      return "silent_loopback";
    default:
      return "unknown";
  }
}

static const char *CAN_LecName(uint32_t lec)
{
  switch (lec)
  {
    case 0U:
      return "none";
    case 1U:
      return "stuff";
    case 2U:
      return "form";
    case 3U:
      return "ack";
    case 4U:
      return "bit_recessive";
    case 5U:
      return "bit_dominant";
    case 6U:
      return "crc";
    case 7U:
      return "software_set";
    default:
      return "unknown";
  }
}

static void CanStatusLed_Task(void)
{
  uint32_t now = HAL_GetTick();

  if (CanReady == 0U)
  {
    SetCanStatusLed(((now / 250U) & 1U) ? GPIO_PIN_SET : GPIO_PIN_RESET);
    return;
  }

  if (CanLatestRx.rx_count == 0U)
  {
    SetCanStatusLed((now % 1000U) < 100U ? GPIO_PIN_SET : GPIO_PIN_RESET);
    return;
  }

  if ((now - CanLatestRx.tick_ms) < CAN_RX_LED_ON_TIME_MS ||
      (now - CanLastRxIrqTick) < CAN_RX_LED_ON_TIME_MS ||
      CanRxIrqPending != 0U)
  {
    SetCanStatusLed(GPIO_PIN_SET);
  }
  else
  {
    SetCanStatusLed(GPIO_PIN_RESET);
  }
}

static HAL_StatusTypeDef CAN_QueueSimpleFrame(uint32_t sequence, uint32_t *tx_mailbox)
{
  CAN_TxHeaderTypeDef tx_header = {0};
  uint8_t tx_data[8];

  (void)sequence;

  tx_data[0] = (uint8_t)CAN_DEVICE_SERIAL;
  tx_data[1] = (uint8_t)(CAN_DEVICE_SERIAL >> 8);
  tx_data[2] = (uint8_t)(CAN_DEVICE_SERIAL >> 16);
  tx_data[3] = (uint8_t)(CAN_DEVICE_SERIAL >> 24);
  tx_data[4] = '2';
  tx_data[5] = 'v';
  tx_data[6] = 'M';
  tx_data[7] = 'T';

  tx_header.StdId = CAN_TX_STD_ID;
  tx_header.ExtId = 0U;
  tx_header.IDE = CAN_ID_STD;
  tx_header.RTR = CAN_RTR_DATA;
  tx_header.DLC = CAN_TX_DLC;
  tx_header.TransmitGlobalTime = DISABLE;

  return HAL_CAN_AddTxMessage(&hcan1, &tx_header, tx_data, tx_mailbox);
}

static void SdCardStatus_Task(void)
{
  uint32_t now = HAL_GetTick();

  if (SdTestState != SD_TEST_OK &&
      (SdTestAttempted == 0U || (now - SdLastTestTick) >= SD_TEST_RETRY_PERIOD_MS))
  {
    SdTestAttempted = 1U;
    SdLastTestTick = now;

    if (IsSdCardDetected() == 0U)
    {
      SdTestState = SD_TEST_PENDING;
      SetErrorLed(GPIO_PIN_RESET);
      SetSdStatusLed(((now / 250U) & 1U) ? GPIO_PIN_SET : GPIO_PIN_RESET);
      printf("[APP] Waiting for SD card, SD_DETECT=%s (%lu)\r\n",
             GpioPinStateName(HAL_GPIO_ReadPin(SD_Detect_GPIO_Port, SD_Detect_Pin)),
             (uint32_t)HAL_GPIO_ReadPin(SD_Detect_GPIO_Port, SD_Detect_Pin));
      return;
    }

    printf("[APP] SD CSV test attempt at %lu ms\r\n", now);
    SdLastFatFsResult = SdCard_RunCsvWriteTest();

    if (SdLastFatFsResult == FR_OK)
    {
      SdTestState = SD_TEST_OK;
      SetErrorLed(GPIO_PIN_RESET);
      printf("[APP] SD CSV test passed\r\n");
    }
    else
    {
      SdTestState = SD_TEST_ERROR;
      SetErrorLed(GPIO_PIN_SET);
      printf("[APP] SD CSV test failed: %s (%d)\r\n",
             FatFsResultName(SdLastFatFsResult),
             (int)SdLastFatFsResult);
    }
  }

  if (SdTestState == SD_TEST_PENDING)
  {
    SetSdStatusLed(((now / 250U) & 1U) ? GPIO_PIN_SET : GPIO_PIN_RESET);
  }
  else if (SdTestState == SD_TEST_ERROR)
  {
    SetSdStatusLed(((now / 500U) & 1U) ? GPIO_PIN_SET : GPIO_PIN_RESET);
  }
  else if (SdTestState == SD_TEST_OK)
  {
    SetSdStatusLed((now - SdLastActivityTick) < SD_ACTIVITY_LED_ON_TIME_MS ? GPIO_PIN_SET : GPIO_PIN_RESET);
  }
}

static void CAN_SDLog_Task(void)
{
  uint32_t now = HAL_GetTick();
  FRESULT result;

  if (SdTestState != SD_TEST_OK)
  {
    return;
  }

  if ((now - CanLastSdLogTick) < CAN_SD_LOG_PERIOD_MS)
  {
    return;
  }

  CanLastSdLogTick = now;
  result = SdCard_AppendCsvRow("can_snapshot");
  if (result == FR_OK)
  {
    CanLastLoggedRxCount = CanLatestRx.rx_count;
  }
  else
  {
    SdTestState = SD_TEST_ERROR;
    SdLastFatFsResult = result;
    SetErrorLed(GPIO_PIN_SET);
    printf("[APP] CAN SD log append failed: %s (%d)\r\n",
           FatFsResultName(result),
           (int)result);
  }
}

static FRESULT SdCard_RunCsvWriteTest(void)
{
  FRESULT result = SdCard_AppendCsvRow("sd_write_ok");

  if (result == FR_OK)
  {
    CanLastLoggedRxCount = CanLatestRx.rx_count;
  }

  return result;
}

static FRESULT SdCard_AppendCsvRow(const char *status)
{
  static const char log_path[] = "0:/CANLOG.CSV";
  static const char csv_header[] =
      "tick_ms,status,can_rx_count,can_rx_delta,can_id,can_ext,can_dlc,can_data,can_last_rx_tick_ms,can_hal_state,can_hal_error,can_esr\r\n";

  char data_hex[17];
  FRESULT result;
  UINT bytes_written;
  int chars_written;
  uint32_t can_delta = CanLatestRx.rx_count - CanLastLoggedRxCount;

  if (retUSER != 0U)
  {
    printf("[FATFS] Driver link failed, retUSER=%u\r\n", retUSER);
    return FR_NOT_READY;
  }

  printf("[FATFS] Mounting %s, SD_DETECT=%s (%lu)\r\n",
         USERPath,
         GpioPinStateName(HAL_GPIO_ReadPin(SD_Detect_GPIO_Port, SD_Detect_Pin)),
         (uint32_t)HAL_GPIO_ReadPin(SD_Detect_GPIO_Port, SD_Detect_Pin));
  result = f_mount(&USERFatFS, USERPath, 1);
  if (result != FR_OK)
  {
    printf("[FATFS] f_mount failed: %s (%d)\r\n",
           FatFsResultName(result),
           (int)result);
    return result;
  }
  printf("[FATFS] f_mount OK, fs_type=%u, csize=%lu sectors/cluster\r\n",
         USERFatFS.fs_type,
         (uint32_t)USERFatFS.csize);

  printf("[FATFS] Opening %s\r\n", log_path);
  result = f_open(&USERFile, log_path, FA_OPEN_ALWAYS | FA_WRITE);
  if (result != FR_OK)
  {
    printf("[FATFS] f_open failed: %s (%d)\r\n",
           FatFsResultName(result),
           (int)result);
    return result;
  }
  printf("[FATFS] f_open OK, existing size=%lu bytes\r\n", (uint32_t)f_size(&USERFile));

  if (f_size(&USERFile) == 0U)
  {
    printf("[FATFS] Writing CSV header\r\n");
    result = f_write(&USERFile, csv_header, sizeof(csv_header) - 1U, &bytes_written);
    if (result != FR_OK || bytes_written != (sizeof(csv_header) - 1U))
    {
      (void)f_close(&USERFile);
      printf("[FATFS] Header write failed: %s (%d), bytes=%u\r\n",
             FatFsResultName(result),
             (int)result,
             bytes_written);
      return (result == FR_OK) ? FR_DISK_ERR : result;
    }
    printf("[FATFS] Header write OK, bytes=%u\r\n", bytes_written);
  }

  printf("[FATFS] Seeking to end\r\n");
  result = f_lseek(&USERFile, f_size(&USERFile));
  if (result == FR_OK)
  {
    FormatCanDataHex(data_hex, sizeof(data_hex), CanLatestRx.data, CanLatestRx.dlc);
    printf("[FATFS] Appending CSV row\r\n");
    chars_written = f_printf(&USERFile,
                             "%lu,%s,%lu,%lu,0x%lX,%u,%u,%s,%lu,%lu,0x%08lX,0x%08lX\r\n",
                             HAL_GetTick(),
                             status,
                             CanLatestRx.rx_count,
                             can_delta,
                             CanLatestRx.id,
                             CanLatestRx.is_extended,
                             CanLatestRx.dlc,
                             data_hex,
                             CanLatestRx.tick_ms,
                             (uint32_t)HAL_CAN_GetState(&hcan1),
                             HAL_CAN_GetError(&hcan1),
                             hcan1.Instance->ESR);
    if (chars_written == EOF)
    {
      result = FR_DISK_ERR;
    }
    printf("[FATFS] CSV row write result chars=%d\r\n", chars_written);
  }
  else
  {
    printf("[FATFS] f_lseek failed: %s (%d)\r\n",
           FatFsResultName(result),
           (int)result);
  }

  if (result == FR_OK)
  {
    printf("[FATFS] Syncing file\r\n");
    result = f_sync(&USERFile);
    if (result != FR_OK)
    {
      printf("[FATFS] f_sync failed: %s (%d)\r\n",
             FatFsResultName(result),
             (int)result);
    }
  }

  if (f_close(&USERFile) != FR_OK && result == FR_OK)
  {
    result = FR_DISK_ERR;
    printf("[FATFS] f_close failed\r\n");
  }

  if (result == FR_OK)
  {
    SdLastActivityTick = HAL_GetTick();
    printf("[FATFS] CSV write complete\r\n");
  }

  return result;
}

static void FormatCanDataHex(char *output, size_t output_size, const uint8_t *data, uint8_t dlc)
{
  static const char hex_digits[] = "0123456789ABCDEF";
  size_t out_index = 0U;

  if (output_size == 0U)
  {
    return;
  }

  if (dlc > 8U)
  {
    dlc = 8U;
  }

  for (uint8_t i = 0U; i < dlc && (out_index + 2U) < output_size; i++)
  {
    output[out_index++] = hex_digits[(data[i] >> 4) & 0x0FU];
    output[out_index++] = hex_digits[data[i] & 0x0FU];
  }

  output[out_index] = '\0';
}

static const char *SdTestStateName(SD_TestStateTypeDef state)
{
  switch (state)
  {
    case SD_TEST_PENDING:
      return "pending";
    case SD_TEST_ERROR:
      return "error";
    case SD_TEST_OK:
      return "ok";
    default:
      return "unknown";
  }
}

static const char *FatFsResultName(FRESULT result)
{
  switch (result)
  {
    case FR_OK:
      return "FR_OK";
    case FR_DISK_ERR:
      return "FR_DISK_ERR";
    case FR_INT_ERR:
      return "FR_INT_ERR";
    case FR_NOT_READY:
      return "FR_NOT_READY";
    case FR_NO_FILE:
      return "FR_NO_FILE";
    case FR_NO_PATH:
      return "FR_NO_PATH";
    case FR_INVALID_NAME:
      return "FR_INVALID_NAME";
    case FR_DENIED:
      return "FR_DENIED";
    case FR_EXIST:
      return "FR_EXIST";
    case FR_INVALID_OBJECT:
      return "FR_INVALID_OBJECT";
    case FR_WRITE_PROTECTED:
      return "FR_WRITE_PROTECTED";
    case FR_INVALID_DRIVE:
      return "FR_INVALID_DRIVE";
    case FR_NOT_ENABLED:
      return "FR_NOT_ENABLED";
    case FR_NO_FILESYSTEM:
      return "FR_NO_FILESYSTEM";
    case FR_MKFS_ABORTED:
      return "FR_MKFS_ABORTED";
    case FR_TIMEOUT:
      return "FR_TIMEOUT";
    case FR_LOCKED:
      return "FR_LOCKED";
    case FR_NOT_ENOUGH_CORE:
      return "FR_NOT_ENOUGH_CORE";
    case FR_TOO_MANY_OPEN_FILES:
      return "FR_TOO_MANY_OPEN_FILES";
    case FR_INVALID_PARAMETER:
      return "FR_INVALID_PARAMETER";
    default:
      return "FR_UNKNOWN";
  }
}

static uint8_t IsSdCardDetected(void)
{
  return (HAL_GPIO_ReadPin(SD_Detect_GPIO_Port, SD_Detect_Pin) == SD_DETECT_ACTIVE_STATE) ? 1U : 0U;
}

static const char *GpioPinStateName(GPIO_PinState state)
{
  return (state == GPIO_PIN_RESET) ? "LOW" : "HIGH";
}

static void SetLed(GPIO_TypeDef *gpio_port, uint16_t gpio_pin, GPIO_PinState state)
{
  HAL_GPIO_WritePin(gpio_port,
                    gpio_pin,
                    (state == GPIO_PIN_SET) ? LED_ACTIVE_STATE : LED_INACTIVE_STATE);
}

static void SetErrorLed(GPIO_PinState state)
{
  SetLed(Red_LED10_GPIO_Port, Red_LED10_Pin, state);
}

static void SetSdStatusLed(GPIO_PinState state)
{
  SetLed(Yellow_LED5_GPIO_Port, Yellow_LED5_Pin, state);
}

static void SetCanStatusLed(GPIO_PinState state)
{
  SetLed(Yellow_LED6_GPIO_Port, Yellow_LED6_Pin, state);
}

/* USER CODE END 4 */

void Error_Handler(void)
{
  /* USER CODE BEGIN Error_Handler_Debug */
  /* User can add his own implementation to report the HAL error return state */
  SetErrorLed(GPIO_PIN_SET);
  SetLed(Green_LED11_GPIO_Port, Green_LED11_Pin, GPIO_PIN_RESET);
  SetSdStatusLed(GPIO_PIN_RESET);
  SetCanStatusLed(GPIO_PIN_RESET);
  printf("[ERROR] Error_Handler entered at %lu ms\r\n", HAL_GetTick());
  __disable_irq();
  while (1)
  {
  }
  /* USER CODE END Error_Handler_Debug */
}
